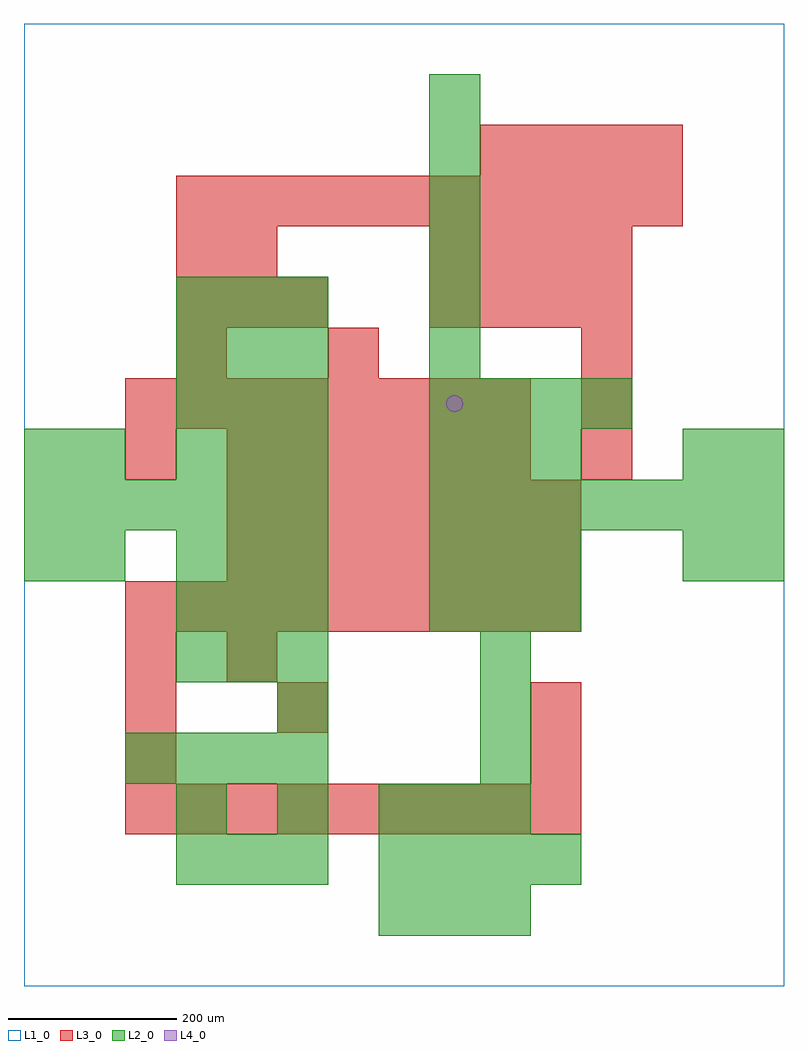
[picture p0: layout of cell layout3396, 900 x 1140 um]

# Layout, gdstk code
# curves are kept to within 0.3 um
import gdstk
lib = gdstk.Library(unit=1e-6, precision=1e-09)
def R(c, l, rs):  # rectangles x0, y0, x1, y1
    for r in rs: c.add(gdstk.rectangle(r[:2], r[2:], *l))
def A(c, l, x, y, w, h, nx, ny, dx, dy):  # array of equal rectangles
    R(c, l, [(x+i*dx, y+j*dy, x+i*dx+w, y+j*dy+h) for i in range(nx) for j in range(ny)])
def P(c, l, *ps):  # polygons
    for p in ps: c.add(gdstk.Polygon(p, *l))
L1_0 = (1, 0)
L2_0 = (2, 0)
L3_0 = (3, 0)
L4_0 = (4, 0)

layout3396 = lib.new_cell('layout3396')
R(layout3396, L1_0, [(0,0,900,1140)])
A(layout3396, L2_0, 420, 60, 60, 60, 3, 1, 60, 0)
A(layout3396, L2_0, 180, 120, 60, 60, 3, 2, 60, 240)
A(layout3396, L2_0, 420, 120, 60, 60, 4, 1, 60, 0)
A(layout3396, L2_0, 180, 180, 60, 60, 3, 1, 120, 0)
A(layout3396, L2_0, 540, 180, 60, 60, 1, 4, 0, 60)
A(layout3396, L2_0, 120, 240, 60, 60, 4, 1, 60, 0)
A(layout3396, L2_0, 180, 420, 60, 60, 3, 2, 60, 60)
A(layout3396, L2_0, 480, 420, 60, 60, 3, 2, 60, 60)
A(layout3396, L2_0, 0, 540, 60, 60, 6, 1, 60, 0)
A(layout3396, L2_0, 480, 540, 60, 60, 7, 1, 60, 0)
A(layout3396, L2_0, 180, 600, 60, 60, 3, 4, 60, 60)
A(layout3396, L2_0, 480, 600, 60, 60, 3, 1, 60, 0)
A(layout3396, L2_0, 480, 660, 60, 60, 4, 1, 60, 0)
A(layout3396, L2_0, 480, 720, 60, 60, 1, 6, 0, 60)
R(layout3396, L2_0, [(480,180,540,240), (300,300,360,360), (0,480,60,540), (60,480,120,540), (780,480,840,540), (840,480,900,540), (0,600,60,660), (60,600,120,660), (780,600,840,660), (840,600,900,660)])
A(layout3396, L3_0, 120, 180, 60, 60, 9, 2, 60, 240)
A(layout3396, L3_0, 120, 240, 60, 60, 1, 3, 0, 60)
A(layout3396, L3_0, 240, 480, 60, 60, 7, 2, 60, 60)
A(layout3396, L3_0, 240, 600, 60, 60, 6, 1, 60, 0)
A(layout3396, L3_0, 660, 600, 60, 60, 1, 3, 0, 60)
A(layout3396, L3_0, 120, 660, 60, 60, 8, 1, 60, 0)
A(layout3396, L3_0, 180, 780, 60, 60, 3, 1, 60, 0)
A(layout3396, L3_0, 480, 780, 60, 60, 4, 2, 60, 60)
A(layout3396, L3_0, 180, 900, 60, 60, 10, 1, 60, 0)
A(layout3396, L3_0, 540, 960, 60, 60, 4, 1, 60, 0)
R(layout3396, L3_0, [(600,240,660,300), (300,300,360,360), (600,300,660,360), (240,360,300,420), (120,600,180,660), (180,720,240,780), (360,720,420,780), (180,840,240,900), (240,840,300,900)])
P(layout3396, L4_0, [(520,690),(519.239,693.827),(517.071,697.071),(513.827,699.239),(510,700),(506.173,699.239),(502.929,697.071),(500.761,693.827),(500,690),(500.761,686.173),(502.929,682.929),(506.173,680.761),(510,680),(513.827,680.761),(517.071,682.929),(519.239,686.173)])

lib.write_gds('layout3396.gds')
